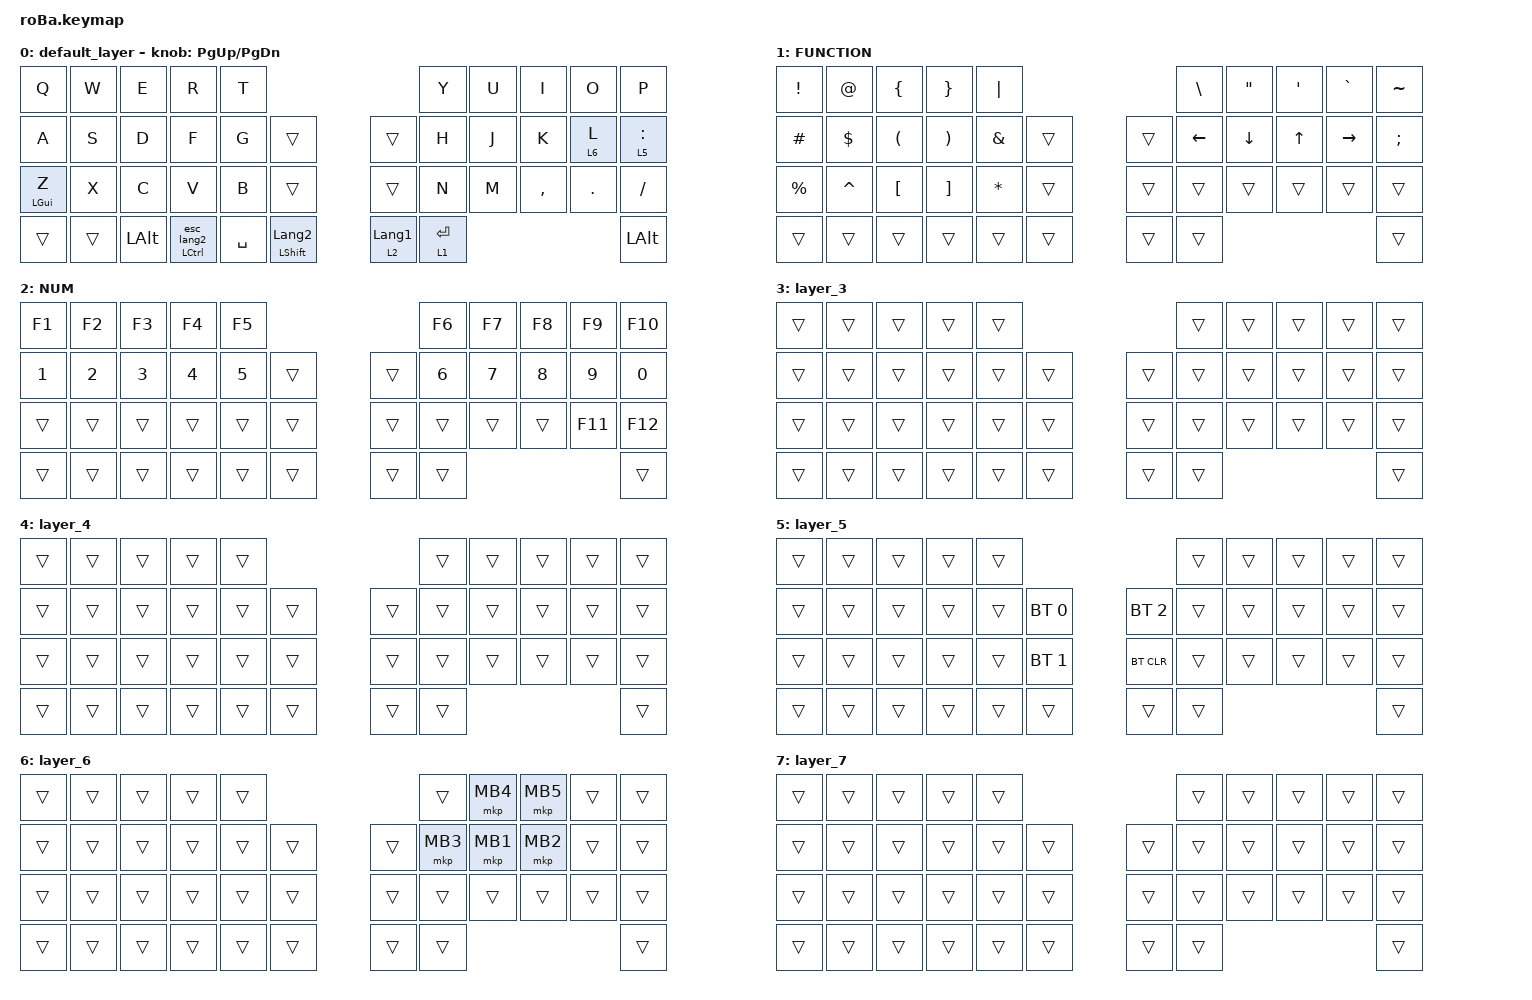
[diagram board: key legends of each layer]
#include <behaviors.dtsi>
#include <dt-bindings/zmk/bt.h>
#include <dt-bindings/zmk/keys.h>
#include <dt-bindings/zmk/pointing.h>

&mt {
    flavor = "balanced";
    quick-tap-ms = <0>;
};

&trackball {
    automouse-layer = <4>;
    scroll-layers = <5>;

    // arrows {
    //     layers = <3>;
    //     bindings =
    //         <&kp RIGHT_ARROW>,
    //         <&kp LEFT_ARROW>,
    //         <&kp UP_ARROW>,
    //         <&kp DOWN_ARROW>;
    //     tick = <10>;
    //     wait-ms = <5>;
    //     tap-ms = <5>;
    // };
};

/ {
    combos {
        compatible = "zmk,combos";

        minus {
            bindings = <&kp MINUS>;
            key-positions = <20 19>;
        };

        eq {
            bindings = <&kp EQUAL>;
            key-positions = <32 31>;
        };

        bs {
            bindings = <&kp BACKSPACE>;
            key-positions = <7 8>;
        };

        esc {
            bindings = <&esc_lang2>;
            key-positions = <11 12>;
        };

        tab {
            bindings = <&kp TAB>;
            key-positions = <1 2>;
        };
    };

    macros {
        esc_lang2: esc_lang2 {
            compatible = "zmk,behavior-macro";
            #binding-cells = <0>;
            bindings = <&kp ESCAPE &kp LANG2>;
            label = "ESC_LANG2";
        };
    };

    behaviors {
        hm: hm {
            compatible = "zmk,behavior-hold-tap";
            label = "HM";
            bindings = <&mt>, <&mkp>;

            #binding-cells = <2>;
            tapping-term-ms = <200>;
        };

        hmacro: hmacro {
            compatible = "zmk,behavior-hold-tap";
            label = "HMACRO";
            bindings = <&kp>, <&esc_lang2>;

            #binding-cells = <2>;
            tapping-term-ms = <200>;
        };

        hl: hl {
            compatible = "zmk,behavior-hold-tap";
            label = "HL";
            bindings = <&mo>, <&mkp>;

            #binding-cells = <2>;
            tapping-term-ms = <200>;
        };
    };

    keymap {
        compatible = "zmk,keymap";

        default_layer {
            bindings = <
&kp Q           &kp W   &kp E         &kp R            &kp T                                                       &kp Y        &kp U  &kp I      &kp O       &kp P
&kp A           &kp S   &kp D         &kp F            &kp G      &trans                         &trans            &kp H        &kp J  &kp K      &lt 6 L     &lt 5 COLON
&mt LEFT_GUI Z  &kp X   &kp C         &kp V            &kp B      &trans                         &trans            &kp N        &kp M  &kp COMMA  &kp PERIOD  &kp SLASH
&trans          &trans  &kp LEFT_ALT  &hmacro LCTRL 0  &kp SPACE  &mt LEFT_SHIFT LANGUAGE_2      &lt 2 LANGUAGE_1  &lt 1 ENTER                                &kp LEFT_ALT
            >;

            sensor-bindings = <&inc_dec_kp PG_UP PAGE_DOWN>;
        };

        FUNCTION {
            bindings = <
&kp EXCLAMATION  &kp AT_SIGN  &kp LEFT_BRACE        &kp RIGHT_BRACE        &kp PIPE                           &kp BACKSLASH  &kp DOUBLE_QUOTES  &kp SINGLE_QUOTE  &kp GRAVE  &kp TILDE
&kp HASH         &kp DOLLAR   &kp LEFT_PARENTHESIS  &kp RIGHT_PARENTHESIS  &kp AMPERSAND  &trans      &trans  &kp LEFT       &kp DOWN           &kp UP_ARROW      &kp RIGHT  &kp SEMICOLON
&kp PERCENT      &kp CARET    &kp LEFT_BRACKET      &kp RIGHT_BRACKET      &kp ASTERISK   &trans      &trans  &trans         &trans             &trans            &trans     &trans
&trans           &trans       &trans                &trans                 &trans         &trans      &trans  &trans                                                         &trans
            >;
        };

        NUM {
            bindings = <
&kp F1        &kp F2        &kp F3        &kp F4        &kp F5                            &kp F6        &kp F7        &kp F8        &kp F9        &kp F10
&kp NUMBER_1  &kp NUMBER_2  &kp NUMBER_3  &kp NUMBER_4  &kp NUMBER_5  &trans      &trans  &kp NUMBER_6  &kp NUMBER_7  &kp NUMBER_8  &kp NUMBER_9  &kp NUMBER_0
&trans        &trans        &trans        &trans        &trans        &trans      &trans  &trans        &trans        &trans        &kp F11       &kp F12
&trans        &trans        &trans        &trans        &trans        &trans      &trans  &trans                                                  &trans
            >;
        };

        layer_3 {
            bindings = <
&trans  &trans  &trans  &trans  &trans                      &trans  &trans  &trans  &trans  &trans
&trans  &trans  &trans  &trans  &trans  &trans      &trans  &trans  &trans  &trans  &trans  &trans
&trans  &trans  &trans  &trans  &trans  &trans      &trans  &trans  &trans  &trans  &trans  &trans
&trans  &trans  &trans  &trans  &trans  &trans      &trans  &trans                          &trans
            >;
        };

        layer_4 {
            bindings = <
&trans  &trans  &trans  &trans  &trans                      &trans  &trans  &trans  &trans  &trans
&trans  &trans  &trans  &trans  &trans  &trans      &trans  &trans  &trans  &trans  &trans  &trans
&trans  &trans  &trans  &trans  &trans  &trans      &trans  &trans  &trans  &trans  &trans  &trans
&trans  &trans  &trans  &trans  &trans  &trans      &trans  &trans                          &trans
            >;
        };

        layer_5 {
            bindings = <
&trans  &trans  &trans  &trans  &trans                                  &trans  &trans  &trans  &trans  &trans
&trans  &trans  &trans  &trans  &trans  &bt BT_SEL 0      &bt BT_SEL 2  &trans  &trans  &trans  &trans  &trans
&trans  &trans  &trans  &trans  &trans  &bt BT_SEL 1      &bt BT_CLR    &trans  &trans  &trans  &trans  &trans
&trans  &trans  &trans  &trans  &trans  &trans            &trans        &trans                          &trans
            >;
        };

        layer_6 {
            bindings = <
&trans  &trans  &trans  &trans  &trans                      &trans    &mkp MB4  &mkp MB5  &trans  &trans
&trans  &trans  &trans  &trans  &trans  &trans      &trans  &mkp MB3  &mkp MB1  &mkp MB2  &trans  &trans
&trans  &trans  &trans  &trans  &trans  &trans      &trans  &trans    &trans    &trans    &trans  &trans
&trans  &trans  &trans  &trans  &trans  &trans      &trans  &trans                                &trans
            >;
        };

        layer_7 {
            bindings = <
&trans  &trans  &trans  &trans  &trans                      &trans  &trans  &trans  &trans  &trans
&trans  &trans  &trans  &trans  &trans  &trans      &trans  &trans  &trans  &trans  &trans  &trans
&trans  &trans  &trans  &trans  &trans  &trans      &trans  &trans  &trans  &trans  &trans  &trans
&trans  &trans  &trans  &trans  &trans  &trans      &trans  &trans                          &trans
            >;
        };
    };
};
